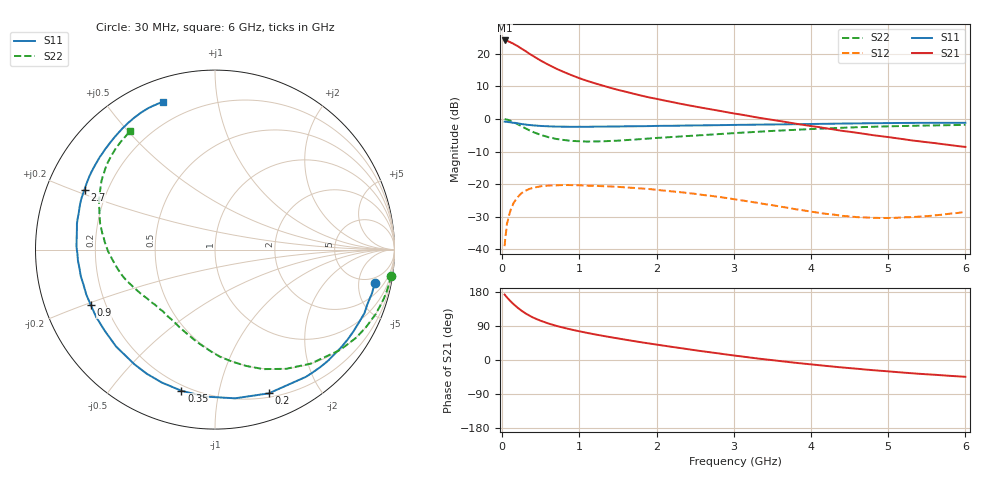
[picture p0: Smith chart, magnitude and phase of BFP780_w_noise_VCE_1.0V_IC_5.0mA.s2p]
! Infineon Technologies  Discrete & RF Semiconductors
! BFP780
! VCE =  1.0 V,  IC =  5.0 mA
! Common Emitter S-Parameters:  Jul 2015
# GHz  S  MA  R  50
!  f  S11  S21  S12  S22
! GHz  MAG  ANG  MAG  ANG  MAG  ANG  MAG  ANG
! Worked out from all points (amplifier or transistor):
!   75 points, 30 MHz to 6 GHz, reference 50 ohm
!   highest |S21| = 24.1 dB at 30 MHz (marker M1)
!   |S21| within 3 dB of that: start of sweep to 283.3 MHz
!   unconditionally stable (mu >= 1): 2.91 GHz to end of sweep
!   at 150 MHz: K = 0.03, MSG = 24.3 dB, |S12| = -25.6 dB
!   at 2.3 GHz: K = 0.67, MSG = 13.6 dB, |S12| = -22.4 dB
!   at 6 GHz: K = 2.77, MAG = 2.7 dB, |S12| = -28.5 dB
!   lowest NFmin = 0.72 dB at 450 MHz
!   S11 on the Smith chart (normalised r, x): 30 MHz: 3.71, -7.97; 200 MHz: 0.24, -1.41; 350 MHz: 0.17, -0.78; 900 MHz: 0.14, -0.21; 2.7 GHz: 0.12, +0.22; 6 GHz: 0.10, +0.71
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0.03  0.9093 -11.8  15.99 172.7  0.0112 81.6  0.9935 -8.4
0.07  0.8988 -26.9  15.64 163.1  0.027 75.0  0.9706 -19.3
0.11  0.8849 -41.3  14.9 154.4  0.0407 66.7  0.9348 -29.8
0.14  0.8745 -51.4  14.34 148.4  0.0494 60.0  0.9002 -37.1
0.2  0.8551 -69.5  13.09 137.8  0.0633 49.5  0.8295 -50.0
0.25  0.8361 -82.3  11.96 130.0  0.073 42.2  0.7733 -59.2
0.3  0.8209 -93.9  11.02 123.2  0.0794 35.9  0.7182 -68.0
0.35  0.8083 -103.4  10.03 117.3  0.0844 30.3  0.6709 -75.0
0.4  0.7977 -111.9  9.226 112.0  0.0878 25.6  0.6303 -81.5
0.45  0.7891 -118.9  8.486 107.5  0.0904 21.5  0.5979 -87.3
0.5  0.781 -125.1  7.827 103.4  0.0929 18.0  0.569 -92.1
0.6  0.7716 -135.6  6.761 96.2  0.0954 12.0  0.5253 -100.9
0.7  0.7628 -143.7  5.898 90.1  0.096 6.9  0.4938 -108.5
0.9  0.758 -156.0  4.676 80.1  0.0967 -1.3  0.4605 -120.3
1.1  0.7583 -165.0  3.837 71.5  0.0948 -7.7  0.45 -130.1
1.5  0.7669 -178.2  2.789 56.9  0.0909 -18.2  0.465 -143.8
2.1  0.7845 167.2  1.918 37.6  0.0795 -30.8  0.5194 -160.1
2.7  0.8002 155.3  1.407 20.2  0.0663 -40.1  0.5754 -174.6
3.1  0.813 147.9  1.164 9.4  0.0565 -44.3  0.616 176.0
4.1  0.8404 131.5  0.751 -13.6  0.0364 -40.3  0.7077 155.5
5.1  0.8674 118.5  0.508 -31.7  0.0305 -16.9  0.7757 138.9
6  0.8732 109.2  0.373 -44.3  0.0376 -1.6  0.8116 125.5
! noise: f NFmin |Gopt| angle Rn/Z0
0.45  0.72  0.3  88  0.11
0.9  0.88  0.34  112  0.11
1.5  1.2  0.46  153  0.07
1.8  1.51  0.5  166  0.06
2.4  1.86  0.56  -178  0.08
3  2.44  0.62  -161  0.14
3.5  3.41  0.66  -147  0.29
